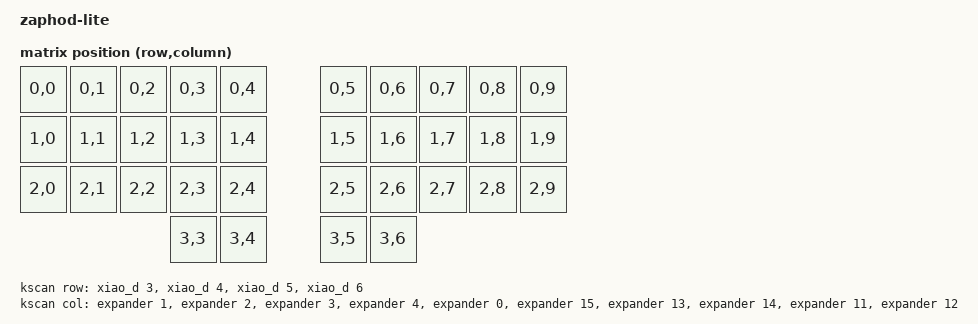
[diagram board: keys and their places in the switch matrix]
/*
 * Copyright (c) 2020 Pete Johanson
 *
 * SPDX-License-Identifier: MIT
 */

#include <dt-bindings/zmk/matrix_transform.h>

&xiao_spi {
	status = "okay";

	cs-gpios = <&xiao_d 7 GPIO_ACTIVE_LOW>, <&xiao_d 2 GPIO_ACTIVE_HIGH>;
	expander: mcp23s17@0 {
		compatible = "microchip,mcp23s17";
		status = "okay";
		gpio-controller;
		spi-max-frequency = <800000>;
		reg = <0>;
		label = "MCP23S17";
		#gpio-cells = <2>;
		ngpios = <16>;
	};

	ls0xx@1 {
		compatible = "sharp,ls0xx";
		label = "DISPLAY";
		spi-max-frequency = <2000000>;
		reg = <1>;
		width = <144>;
		height = <168>;
		// disp-en-gpios = <&gpio0 23 GPIO_ACTIVE_HIGH>;
	};

};

&xiao_serial { status = "disabled"; };
&xiao_i2c { status = "disabled"; };

/ {
	model = "zaphod-lite";
	compatible = "petejohanson,zaphod-lite";

	chosen {
		zmk,kscan = &kscan;
		zmk,matrix_transform = &transform;
	};

	transform: transform {
		compatible = "zmk,matrix-transform";
		rows = <4>;
		columns = <10>;

		map = <
	RC(0,0) RC(0,1) RC(0,2) RC(0,3) RC(0,4) 	RC(0,5) RC(0,6) RC(0,7) RC(0,8) RC(0,9)
	RC(1,0) RC(1,1) RC(1,2) RC(1,3) RC(1,4) 	RC(1,5) RC(1,6) RC(1,7) RC(1,8) RC(1,9)
	RC(2,0) RC(2,1) RC(2,2) RC(2,3) RC(2,4) 	RC(2,5) RC(2,6) RC(2,7) RC(2,8) RC(2,9)
	                       RC(3,3)  RC(3,4) 	RC(3,5) RC(3,6)
	>;
	};
	
	kscan: kscan {
		compatible = "zmk,kscan-gpio-matrix";
		label = "KSCAN";
		debounce-period = <10>;

		diode-direction = "col2row";

		col-gpios
			= <&expander 1 (GPIO_ACTIVE_HIGH)>
			, <&expander 2 (GPIO_ACTIVE_HIGH)>
			, <&expander 3 (GPIO_ACTIVE_HIGH)>
			, <&expander 4 (GPIO_ACTIVE_HIGH)>
			, <&expander 0 (GPIO_ACTIVE_HIGH)>
			, <&expander 15 (GPIO_ACTIVE_HIGH)>
			, <&expander 13 (GPIO_ACTIVE_HIGH)>
			, <&expander 14 (GPIO_ACTIVE_HIGH)>
			, <&expander 11 (GPIO_ACTIVE_HIGH)>
			, <&expander 12 (GPIO_ACTIVE_HIGH)>
			;
		row-gpios
			= <&xiao_d 3  (GPIO_ACTIVE_HIGH | GPIO_PULL_DOWN)>
			, <&xiao_d 4  (GPIO_ACTIVE_HIGH | GPIO_PULL_DOWN)>
			, <&xiao_d 5 (GPIO_ACTIVE_HIGH | GPIO_PULL_DOWN)>
			, <&xiao_d 6 (GPIO_ACTIVE_HIGH | GPIO_PULL_DOWN)>
			;
	};
};

